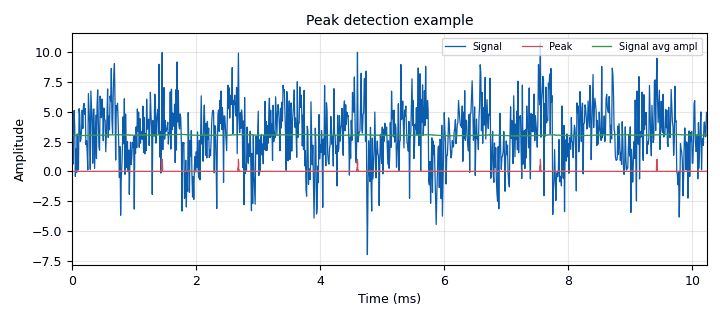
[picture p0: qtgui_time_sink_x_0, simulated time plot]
<?xml version='1.0' encoding='utf-8'?>
<?grc format='1' created='3.7.11'?>
<flow_graph>
<block>
<key>options</key>
<param><key>id</key><value>peak_detector_example</value></param>
<param><key>generate_options</key><value>qt_gui</value></param>
</block>
<block>
<key>variable</key>
<param><key>id</key><value>samp_rate</value></param>
<param><key>value</key><value>100e3</value></param>
</block>
<block>
<key>analog_noise_source_x</key>
<param><key>id</key><value>analog_noise_source_x_0</value></param>
<param><key>amp</key><value>2</value></param>
<param><key>noise_type</key><value>analog.GR_GAUSSIAN</value></param>
<param><key>type</key><value>float</value></param>
<param><key>seed</key><value>0</value></param>
</block>
<block>
<key>analog_sig_source_x</key>
<param><key>id</key><value>analog_sig_source_x_0</value></param>
<param><key>amp</key><value>5</value></param>
<param><key>freq</key><value>1000</value></param>
<param><key>offset</key><value>0</value></param>
<param><key>type</key><value>float</value></param>
<param><key>samp_rate</key><value>samp_rate</value></param>
<param><key>waveform</key><value>analog.GR_SAW_WAVE</value></param>
</block>
<block>
<key>analog_sig_source_x</key>
<param><key>id</key><value>analog_sig_source_x_1</value></param>
<param><key>amp</key><value>1</value></param>
<param><key>freq</key><value>1000</value></param>
<param><key>offset</key><value>0</value></param>
<param><key>type</key><value>float</value></param>
<param><key>samp_rate</key><value>samp_rate</value></param>
<param><key>waveform</key><value>analog.GR_TRI_WAVE</value></param>
</block>
<block>
<key>blocks_add_xx</key>
<param><key>id</key><value>blocks_add_xx_0</value></param>
<param><key>type</key><value>float</value></param>
<param><key>num_inputs</key><value>3</value></param>
</block>
<block>
<key>blocks_char_to_float</key>
<param><key>id</key><value>blocks_char_to_float_0</value></param>
<param><key>scale</key><value>1</value></param>
</block>
<block>
<key>blocks_file_source</key>
<param><key>id</key><value>blocks_file_source_0</value></param>
<param><key>_enabled</key><value>0</value></param>
<param><key>type</key><value>float</value></param>
<param><key>repeat</key><value>True</value></param>
</block>
<block>
<key>blocks_peak_detector2_fb</key>
<param><key>id</key><value>blocks_peak_detector2_fb_0</value></param>
<param><key>alpha</key><value>0.001</value></param>
<param><key>look_ahead</key><value>10</value></param>
<param><key>threshold_factor_rise</key><value>2</value></param>
</block>
<block>
<key>blocks_throttle</key>
<param><key>id</key><value>blocks_throttle_0</value></param>
<param><key>samples_per_second</key><value>samp_rate</value></param>
<param><key>type</key><value>float</value></param>
</block>
<block>
<key>qtgui_time_sink_x</key>
<param><key>id</key><value>qtgui_time_sink_x_0</value></param>
<param><key>autoscale</key><value>True</value></param>
<param><key>ctrlpanel</key><value>True</value></param>
<param><key>grid</key><value>True</value></param>
<param><key>alpha1</key><value>0.8</value></param>
<param><key>color1</key><value>"blue"</value></param>
<param><key>label1</key><value>Signal</value></param>
<param><key>color2</key><value>"red"</value></param>
<param><key>label2</key><value>Peak</value></param>
<param><key>width2</key><value>3</value></param>
<param><key>color3</key><value>"green"</value></param>
<param><key>label3</key><value>Signal avg ampl</value></param>
<param><key>width3</key><value>2</value></param>
<param><key>name</key><value>"Peak detection example"</value></param>
<param><key>nconnections</key><value>3</value></param>
<param><key>size</key><value>1024</value></param>
<param><key>srate</key><value>samp_rate</value></param>
<param><key>type</key><value>float</value></param>
</block>
<connection><source_block_id>analog_noise_source_x_0</source_block_id><sink_block_id>blocks_add_xx_0</sink_block_id><source_key>0</source_key><sink_key>2</sink_key></connection>
<connection><source_block_id>analog_sig_source_x_0</source_block_id><sink_block_id>blocks_add_xx_0</sink_block_id><source_key>0</source_key><sink_key>1</sink_key></connection>
<connection><source_block_id>analog_sig_source_x_1</source_block_id><sink_block_id>blocks_add_xx_0</sink_block_id><source_key>0</source_key><sink_key>0</sink_key></connection>
<connection><source_block_id>blocks_add_xx_0</source_block_id><sink_block_id>blocks_throttle_0</sink_block_id><source_key>0</source_key><sink_key>0</sink_key></connection>
<connection><source_block_id>blocks_char_to_float_0</source_block_id><sink_block_id>qtgui_time_sink_x_0</sink_block_id><source_key>0</source_key><sink_key>1</sink_key></connection>
<connection><source_block_id>blocks_file_source_0</source_block_id><sink_block_id>blocks_throttle_0</sink_block_id><source_key>0</source_key><sink_key>0</sink_key></connection>
<connection><source_block_id>blocks_peak_detector2_fb_0</source_block_id><sink_block_id>qtgui_time_sink_x_0</sink_block_id><source_key>1</source_key><sink_key>2</sink_key></connection>
<connection><source_block_id>blocks_peak_detector2_fb_0</source_block_id><sink_block_id>blocks_char_to_float_0</sink_block_id><source_key>0</source_key><sink_key>0</sink_key></connection>
<connection><source_block_id>blocks_throttle_0</source_block_id><sink_block_id>blocks_peak_detector2_fb_0</sink_block_id><source_key>0</source_key><sink_key>0</sink_key></connection>
<connection><source_block_id>blocks_throttle_0</source_block_id><sink_block_id>qtgui_time_sink_x_0</sink_block_id><source_key>0</source_key><sink_key>0</sink_key></connection>
</flow_graph>
